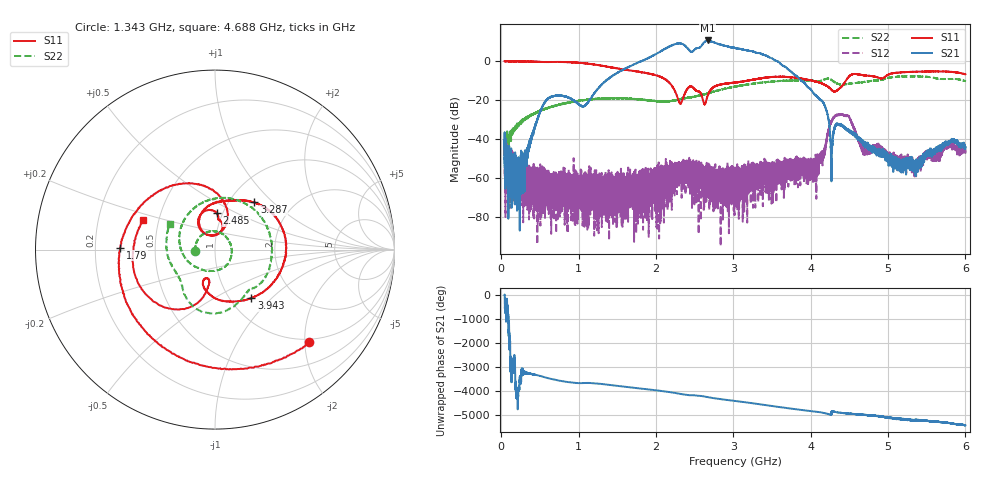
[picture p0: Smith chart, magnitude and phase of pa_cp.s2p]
!Agilent Technologies,E8364A,US41440144,A.06.04.32
!Agilent E8364A: A.06.04.32
!Date: Monday, February 26, 2018 15:08:21
!Correction: S11(Full 2 Port(1,2)) S21(Full 2 Port(1,2)) S12(Full 2 Port(1,2)) S22(Full 2 Port(1,2))
!S2P File: Measurements: S11, S21, S12, S22:
# Hz S  dB  R 50
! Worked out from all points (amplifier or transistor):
!   16001 points, 45 MHz to 6 GHz, reference 50 ohm
!   highest |S21| = 10.6 dB at 2.672 GHz (marker M1)
!   |S21| within 3 dB of that: 2.585 GHz to 2.922 GHz (337 MHz wide, 12.2 % of centre)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
!   unconditionally stable (mu >= 1): start of sweep to 50.41 MHz; 58.56 MHz to 106.6 MHz; 107 MHz to end of sweep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
!   at 1.037 GHz: K = 2129.96, MAG = -16.0 dB, |S12| = -63.7 dB
!   at 3.022 GHz: K = 192.01, MAG = 7.3 dB, |S12| = -59.6 dB
!   at 6 GHz: K = 13795.03, MAG = -42.7 dB, |S12| = -47.5 dB
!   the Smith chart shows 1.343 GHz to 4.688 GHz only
!   S11 on the Smith chart (normalised r, x): 1.343 GHz: 0.93, -2.10; 1.79 GHz: 0.31, +0.01; 2.485 GHz: 0.94, +0.40; 3.287 GHz: 1.30, +0.78; 3.943 GHz: 1.25, -0.76; 4.688 GHz: 0.41, +0.17
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4.5e7  -0.07 -16.7  -50.73 -16.6  -39.73 -96.6  -47.19 58.7
2.258831e8  -0.13 -79.7  -52.77 127.0  -51.91 -177.0  -32.45 40.6
5.422425e8  -0.44 -173.7  -22.70 -159.6  -63.65 58.2  -24.95 -22.4
1.037624e9  -0.94 52.4  -23.00 -63.0  -72.02 178.4  -20.22 -119.8
1.342818e9  -2.66 -44.5  -10.52 -114.8  -71.18 98.4  -19.22 -176.6
1.789815e9  -5.54 178.8  -0.36 76.7  -68.29 115.2  -19.65 96.3
2.030248e9  -7.64 118.2  4.29 -11.0  -55.84 -134.2  -20.68 41.2
2.239045e9  -14.80 67.2  8.63 -105.3  -63.55 172.5  -20.32 -19.4
2.339164e9  -20.49 117.5  8.84 -162.1  -53.39 103.9  -19.30 -53.2
2.484689e9  -13.86 87.1  5.29 155.1  -55.52 57.9  -18.38 -98.7
2.604533e9  -19.25 71.6  8.72 117.9  -55.74 14.3  -17.36 -128.6
2.672272e9  -17.41 124.3  10.64 76.0  -57.54 -13.9  -16.63 -141.8
2.806631e9  -12.31 100.8  8.83 7.6  -59.30 -31.6  -15.05 -168.5
3.0225e9  -11.02 75.8  6.76 -81.7  -59.60 -66.9  -13.13 151.8
3.287498e9  -9.27 50.3  4.45 167.1  -53.27 -97.2  -11.43 108.0
3.580781e9  -8.05 8.1  -0.26 34.3  -52.60 -177.3  -10.28 57.5
3.943292e9  -9.42 -53.1  -12.46 -120.4  -55.66 119.3  -9.93 -16.2
4.015124e9  -10.04 -66.0  -15.27 -148.7  -56.82 91.3  -9.96 -35.2
4.343021e9  -14.99 -100.3  -32.35 170.2  -27.67 30.7  -11.62 -135.5
4.688411e9  -7.34 156.7  -41.79 67.2  -45.89 166.1  -10.72 149.7
5.007748e9  -6.89 102.1  -49.54 -54.0  -49.38 -93.6  -8.56 93.7
6e9  -6.73 -54.3  -44.19 -9.0  -47.54 3.9  -10.33 -65.5
